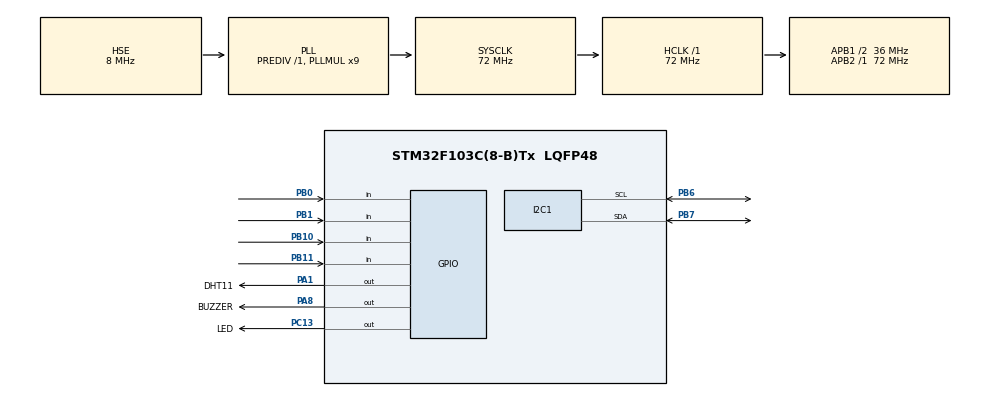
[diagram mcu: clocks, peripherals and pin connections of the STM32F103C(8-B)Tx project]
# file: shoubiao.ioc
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FREERTOS.Tasks01=defaultTask,24,128,StartDefaultTask,Default,NULL,Dynamic,NULL,NULL;MenuTask,24,256,StartTask02,Default,NULL,Dynamic,NULL,NULL
Mcu.Family=STM32F1
Mcu.Name=STM32F103C(8-B)Tx
Mcu.Package=LQFP48
NVIC.PriorityGroup=NVIC_PRIORITYGROUP_4
PA1.GPIO_Label=DHT11
PA1.Signal=GPIO_Output
PA13.Mode=Serial_Wire
PA13.Signal=SYS_JTMS-SWDIO
PA14.Mode=Serial_Wire
PA14.Signal=SYS_JTCK-SWCLK
PA8.GPIO_Label=BUZZER
PA8.Signal=GPIO_Output
PB0.GPIO_PuPd=GPIO_PULLUP
PB0.Signal=GPIO_Input
PB1.GPIO_PuPd=GPIO_PULLUP
PB1.Signal=GPIO_Input
PB10.GPIO_PuPd=GPIO_PULLUP
PB10.Signal=GPIO_Input
PB11.GPIO_PuPd=GPIO_PULLUP
PB11.Signal=GPIO_Input
PB6.Mode=I2C
PB6.Signal=I2C1_SCL
PB7.Mode=I2C
PB7.Signal=I2C1_SDA
PC13-TAMPER-RTC.GPIO_Label=LED
PC13-TAMPER-RTC.Signal=GPIO_Output
PD0-OSC_IN.Mode=HSE-External-Oscillator
PD0-OSC_IN.Signal=RCC_OSC_IN
PD1-OSC_OUT.Mode=HSE-External-Oscillator
PD1-OSC_OUT.Signal=RCC_OSC_OUT
ProjectManager.HeapSize=0x200
ProjectManager.StackSize=0x400
ProjectManager.TargetToolchain=MDK-ARM V5.32
RCC.AHBFreq_Value=72000000
RCC.APB1CLKDivider=RCC_HCLK_DIV2
RCC.APB1Freq_Value=36000000
RCC.APB1TimFreq_Value=72000000
RCC.APB2Freq_Value=72000000
RCC.APB2TimFreq_Value=72000000
RCC.HCLKFreq_Value=72000000
RCC.PLLMUL=RCC_PLL_MUL9
RCC.PLLSourceVirtual=RCC_PLLSOURCE_HSE
RCC.SYSCLKFreq_VALUE=72000000
RCC.SYSCLKSource=RCC_SYSCLKSOURCE_PLLCLK
RCC.USBFreq_Value=72000000
VP_FREERTOS_VS_CMSIS_V2.Mode=CMSIS_V2
board=custom

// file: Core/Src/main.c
/* USER CODE BEGIN Header */
/**
  ******************************************************************************
  * @file           : main.c
  * @brief          : Main program body
  ******************************************************************************
  * @attention
  *
  * Copyright (c) 2026 STMicroelectronics.
  * All rights reserved.
  *
  * This software is licensed under terms that can be found in the LICENSE file
  * in the root directory of this software component.
  * If no LICENSE file comes with this software, it is provided AS-IS.
  *
  ******************************************************************************
  */
/* USER CODE END Header */
#include "main.h"
#include "cmsis_os.h"
#include "i2c.h"
#include "gpio.h"

/* USER CODE BEGIN Includes */

#include "oled.h"

/* USER CODE END Includes */

void SystemClock_Config(void);
void MX_FREERTOS_Init(void);

int main(void)
{

  /* MCU Configuration--------------------------------------------------------*/

  /* Reset of all peripherals, Initializes the Flash interface and the Systick. */
  HAL_Init();

  /* Configure the system clock */
  SystemClock_Config();

  /* Initialize all configured peripherals */
  MX_GPIO_Init();
  MX_I2C1_Init();

  /* Init scheduler */
  osKernelInitialize();

  /* Call init function for freertos objects (in cmsis_os2.c) */
  MX_FREERTOS_Init();

  /* Start scheduler */
  osKernelStart();

  /* We should never get here as control is now taken by the scheduler */

  /* Infinite loop */
  while (1)
  {

  }
}

void SystemClock_Config(void)
{
  RCC_OscInitTypeDef RCC_OscInitStruct = {0};
  RCC_ClkInitTypeDef RCC_ClkInitStruct = {0};

  /** Initializes the RCC Oscillators according to the specified parameters
  * in the RCC_OscInitTypeDef structure.
  */
  RCC_OscInitStruct.OscillatorType = RCC_OSCILLATORTYPE_HSE;
  RCC_OscInitStruct.HSEState = RCC_HSE_ON;
  RCC_OscInitStruct.HSEPredivValue = RCC_HSE_PREDIV_DIV1;
  RCC_OscInitStruct.HSIState = RCC_HSI_ON;
  RCC_OscInitStruct.PLL.PLLState = RCC_PLL_ON;
  RCC_OscInitStruct.PLL.PLLSource = RCC_PLLSOURCE_HSE;
  RCC_OscInitStruct.PLL.PLLMUL = RCC_PLL_MUL9;
  if (HAL_RCC_OscConfig(&RCC_OscInitStruct) != HAL_OK)
  {
    Error_Handler();
  }

  /** Initializes the CPU, AHB and APB buses clocks
  */
  RCC_ClkInitStruct.ClockType = RCC_CLOCKTYPE_HCLK|RCC_CLOCKTYPE_SYSCLK
                              |RCC_CLOCKTYPE_PCLK1|RCC_CLOCKTYPE_PCLK2;
  RCC_ClkInitStruct.SYSCLKSource = RCC_SYSCLKSOURCE_PLLCLK;
  RCC_ClkInitStruct.AHBCLKDivider = RCC_SYSCLK_DIV1;
  RCC_ClkInitStruct.APB1CLKDivider = RCC_HCLK_DIV2;
  RCC_ClkInitStruct.APB2CLKDivider = RCC_HCLK_DIV1;

  if (HAL_RCC_ClockConfig(&RCC_ClkInitStruct, FLASH_LATENCY_2) != HAL_OK)
  {
    Error_Handler();
  }
}

void Error_Handler(void)
{
  __disable_irq();
  while (1)
  {
  }
}

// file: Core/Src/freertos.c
/* USER CODE BEGIN Header */
/**
  ******************************************************************************
  * File Name          : freertos.c
  * Description        : Code for freertos applications
  ******************************************************************************
  * @attention
  *
  * Copyright (c) 2026 STMicroelectronics.
  * All rights reserved.
  *
  * This software is licensed under terms that can be found in the LICENSE file
  * in the root directory of this software component.
  * If no LICENSE file comes with this software, it is provided AS-IS.
  *
  ******************************************************************************
  */
/* USER CODE END Header */

#include "FreeRTOS.h"
#include "task.h"
#include "main.h"
#include "cmsis_os.h"

/* USER CODE BEGIN Includes */
#include "oled.h"
#include "key.h"
#include "led.h"
#include "driver_dht11.h"
#include "driver_passive_buzzer.h"
// <<< 新增：包含所有需要的头文件
/* USER CODE END Includes */

/* USER CODE BEGIN PTD */
// <<< 新增：定义屏幕枚举类型
typedef enum {
    SCREEN_CLOCK,      // 时钟界面
    SCREEN_CALENDAR,   // 日历界面
    SCREEN_TEMP_HUM,   // 温湿度界面
    SCREEN_FLASHLIGHT, // 手电筒界面
    SCREEN_SETTINGS,   // 设置界面
    SCREEN_MAX
} ScreenType_t;
/* USER CODE END PTD */

/* USER CODE BEGIN Variables */
// <<< 新增：全局变量定义
ScreenType_t CurrentScreen = SCREEN_CLOCK; // 当前显示的屏幕
float gTemperature = 0, gHumidity = 0;     // 温湿度全局变量
uint8_t gLedStatus = 0;                    // LED状态
uint8_t gBuzzerStatus = 0;                 // 蜂鸣器状态
/* USER CODE END Variables */

/* Definitions for defaultTask */
osThreadId_t defaultTaskHandle;
const osThreadAttr_t defaultTask_attributes = {
  .name = "defaultTask",
  .stack_size = 128 * 4,
  .priority = (osPriority_t) osPriorityNormal,
};

/* Definitions for MenuTask */
osThreadId_t MenuTaskHandle;
const osThreadAttr_t MenuTask_attributes = {
  .name = "MenuTask",
  .stack_size = 256 * 4,
  .priority = (osPriority_t) osPriorityNormal,
};

// <<< 新增：其他任务句柄和属性定义
/* Definitions for DisplayTask */
osThreadId_t DisplayTaskHandle;
const osThreadAttr_t DisplayTask_attributes = {
  .name = "DisplayTask",
  .stack_size = 256 * 4,
  .priority = (osPriority_t) osPriorityNormal,
};

/* Definitions for ClockTask */
osThreadId_t ClockTaskHandle;
const osThreadAttr_t ClockTask_attributes = {
  .name = "ClockTask",
  .stack_size = 256 * 4,
  .priority = (osPriority_t) osPriorityNormal,
};

/* Definitions for DHT11Task */
osThreadId_t DHT11TaskHandle;
const osThreadAttr_t DHT11Task_attributes = {
  .name = "DHT11Task",
  .stack_size = 256 * 4,
  .priority = (osPriority_t) osPriorityBelowNormal,
};

/* Definitions for KeyTask */
osThreadId_t KeyTaskHandle;
const osThreadAttr_t KeyTask_attributes = {
  .name = "KeyTask",
  .stack_size = 256 * 4,
  .priority = (osPriority_t) osPriorityAboveNormal,
};

/* Definitions for SystemMonitorTask */
osThreadId_t SystemMonitorTaskHandle;
const osThreadAttr_t SystemMonitorTask_attributes = {
  .name = "SystemMonitorTask",
  .stack_size = 128 * 4,
  .priority = (osPriority_t) osPriorityLow,
};

/* USER CODE BEGIN FunctionPrototypes */
// <<< 新增：任务函数声明
void DisplayTaskFunc(void *argument);
void ClockTaskFunc(void *argument);
void SystemMonitorTaskFunc(void *argument);
/* USER CODE END FunctionPrototypes */

void StartDefaultTask(void *argument);
void StartTask02(void *argument);

void MX_FREERTOS_Init(void); /* (MISRA C 2004 rule 8.1) */

void MX_FREERTOS_Init(void) {

  /* Create the thread(s) */
  /* creation of defaultTask */
  defaultTaskHandle = osThreadNew(StartDefaultTask, NULL, &defaultTask_attributes);

  /* creation of MenuTask */
  MenuTaskHandle = osThreadNew(StartTask02, NULL, &MenuTask_attributes);

  /* USER CODE BEGIN RTOS_THREADS */
  // <<< 新增：创建所有任务
  /* creation of DisplayTask */
  DisplayTaskHandle = osThreadNew(DisplayTaskFunc, NULL, &DisplayTask_attributes);

  /* creation of ClockTask */
  ClockTaskHandle = osThreadNew(ClockTaskFunc, NULL, &ClockTask_attributes);

  /* creation of DHT11Task */
  DHT11TaskHandle = osThreadNew(DHT11_Task, NULL, &DHT11Task_attributes);

  /* creation of KeyTask */
  KeyTaskHandle = osThreadNew(KEY_Task, NULL, &KeyTask_attributes);

  /* creation of SystemMonitorTask */
  SystemMonitorTaskHandle = osThreadNew(SystemMonitorTaskFunc, NULL, &SystemMonitorTask_attributes);
  /* USER CODE END RTOS_THREADS */

}

void StartDefaultTask(void *argument)
{
  /* USER CODE BEGIN StartDefaultTask */
  /* Infinite loop */
  for(;;)
  {
    osDelay(1000);  // <<< 修改：延长延时时间
  }
  /* USER CODE END StartDefaultTask */
}

void StartTask02(void *argument)
{
  /* USER CODE BEGIN StartTask02 */
  // <<< 修改：菜单任务实现
  /* 初始化外设 */
  KEY_Init();
  LED_Init();
  BUZZER_Init();

  /* 开机提示音 */
  BUZZER_Beep(200);
  LED_SetMode(LED_MODE_BLINK_FAST);
  osDelay(500);
  LED_SetMode(LED_MODE_OFF);

  for(;;)
  {
    // 处理按键事件
    KeyEvent event = KEY_GetEvent();
    if(event.state != KEY_RELEASED)
    {
      switch(event.key_id)
      {
        case KEY_ID_RIGHT:  // 右键：下一个屏幕
          CurrentScreen = (CurrentScreen + 1) % SCREEN_MAX;
          BUZZER_Beep(50);  // 按键提示音
          break;

        case KEY_ID_LEFT:   // 左键：上一个屏幕
          if(CurrentScreen == 0)
            CurrentScreen = SCREEN_MAX - 1;
          else
            CurrentScreen--;
          BUZZER_Beep(50);  // 按键提示音
          break;

        case KEY_ID_ENTER:  // 确认键：进入/确认
          if(CurrentScreen == SCREEN_FLASHLIGHT)
          {
            gLedStatus = !gLedStatus;
            if(gLedStatus)
              LED_SetMode(LED_MODE_ON);
            else
              LED_SetMode(LED_MODE_OFF);
          }
          else if(CurrentScreen == SCREEN_SETTINGS)
          {
            gBuzzerStatus = !gBuzzerStatus;
            BUZZER_Beep(100);
          }
          break;

        case KEY_ID_EXIT:   // 退出键：返回
          // 可以添加返回上级菜单的逻辑
          break;
      }
    }

    // 更新LED和蜂鸣器状态
    LED_Update();
    BUZZER_Update();

    osDelay(20);  // 20ms周期
  }
  /* USER CODE END StartTask02 */
}

/* USER CODE BEGIN Application */
// <<< 新增：所有新任务函数的实现

/**
  * @brief  显示任务函数
  * @param  argument: Not used
  * @retval None
  */
void DisplayTaskFunc(void *argument)
{
  /* 初始化OLED */
  OLED_Init();
  OLED_Clear();

  /* 显示开机画面 */
  OLED_ShowString(30, 0, "SMART WATCH", FONT_SIZE_6x8);
  OLED_ShowString(20, 2, "Initializing...", FONT_SIZE_6x8);
  OLED_Refresh();
  osDelay(1000);

  for(;;)
  {
    OLED_Clear();

    /* 根据当前屏幕显示不同内容 */
    switch(CurrentScreen)
    {
      case SCREEN_CLOCK:      // 时钟界面
        OLED_ShowString(40, 0, "CLOCK", FONT_SIZE_6x8);
        OLED_ShowString(20, 2, "Time: 12:30:45", FONT_SIZE_6x8);
        OLED_ShowString(20, 4, "Date: 2024-01-01", FONT_SIZE_6x8);
        break;

      case SCREEN_CALENDAR:   // 日历界面
        OLED_ShowString(35, 0, "CALENDAR", FONT_SIZE_6x8);
        OLED_ShowString(20, 2, "2024年1月1日", FONT_SIZE_6x8);
        OLED_ShowString(20, 4, "星期一", FONT_SIZE_6x8);
        OLED_ShowString(20, 6, "农历冬月廿一", FONT_SIZE_6x8);
        break;

      case SCREEN_TEMP_HUM:   // 温湿度界面
        OLED_ShowString(30, 0, "ENVIRONMENT", FONT_SIZE_6x8);

        // 显示温度图标
        OLED_ShowString(10, 2, "Temp:", FONT_SIZE_6x8);
        OLED_ShowFloatNum(50, 2, gTemperature, 2, FONT_SIZE_6x8);
        OLED_ShowString(90, 2, "C", FONT_SIZE_6x8);

        // 显示湿度图标
        OLED_ShowString(10, 4, "Hum:", FONT_SIZE_6x8);
        OLED_ShowFloatNum(50, 4, gHumidity, 2, FONT_SIZE_6x8);
        OLED_ShowString(90, 4, "%", FONT_SIZE_6x8);
        break;

      case SCREEN_FLASHLIGHT: // 手电筒界面
        OLED_ShowString(30, 0, "FLASHLIGHT", FONT_SIZE_6x8);
        OLED_ShowString(15, 3, gLedStatus ? "ON" : "OFF", FONT_SIZE_8x16);
        OLED_ShowString(30, 5, "Press ENTER", FONT_SIZE_6x8);
        OLED_ShowString(30, 6, "to toggle", FONT_SIZE_6x8);
        break;

      case SCREEN_SETTINGS:   // 设置界面
        OLED_ShowString(35, 0, "SETTINGS", FONT_SIZE_6x8);
        OLED_ShowString(10, 2, "Buzzer:", FONT_SIZE_6x8);
        OLED_ShowString(60, 2, gBuzzerStatus ? "ON " : "OFF", FONT_SIZE_6x8);
        OLED_ShowString(10, 4, "Brightness:", FONT_SIZE_6x8);
        OLED_ShowString(80, 4, "80%", FONT_SIZE_6x8);
        break;

      default:
        break;
    }

    /* 显示底部导航栏 */
    OLED_DrawLine(0, 56, 127, 56, WHITE);
    OLED_ShowString(5, 7, "<", FONT_SIZE_6x8);
    OLED_ShowString(115, 7, ">", FONT_SIZE_6x8);
    OLED_ShowString(55, 7, "OK", FONT_SIZE_6x8);

    /* 刷新屏幕 */
    OLED_Refresh();

    osDelay(200);  // 200ms刷新一次，避免闪烁
  }
}

/**
  * @brief  时钟任务函数
  * @param  argument: Not used
  * @retval None
  */
void ClockTaskFunc(void *argument)
{
  uint32_t tick_count = 0;
  uint8_t hours = 12, minutes = 30, seconds = 45;

  for(;;)
  {
    tick_count++;

    // 模拟时钟更新（实际应该用RTC）
    seconds++;
    if(seconds >= 60)
    {
      seconds = 0;
      minutes++;
      if(minutes >= 60)
      {
        minutes = 0;
        hours++;
        if(hours >= 24)
        {
          hours = 0;
        }
      }
    }

    // 每秒更新一次（实际项目应该用RTC中断）
    if(tick_count % 5 == 0)  // 5*200ms = 1秒
    {
      // 这里可以更新全局时钟变量
      // 实际项目中应该从RTC读取
    }

    osDelay(200);  // 200ms周期
  }
}

/**
  * @brief  系统监控任务函数
  * @param  argument: Not used
  * @retval None
  */
void SystemMonitorTaskFunc(void *argument)
{
  uint32_t last_wake_time = osKernelGetTickCount();
  uint32_t task_count = 0;

  for(;;)
  {
    task_count++;

    // 每10秒输出一次系统状态
    if(task_count % 50 == 0)  // 50*200ms = 10秒
    {
      // 获取任务堆栈使用情况（示例）
      // 实际可以使用uxTaskGetStackHighWaterMark()获取堆栈高水位

      // 简单的系统状态指示
      if(task_count % 100 == 0)  // 20秒闪烁一次
      {
        LED_SetMode(LED_MODE_BLINK_SLOW);
        osDelay(500);
        LED_SetMode(LED_MODE_OFF);
      }
    }

    // 固定周期运行
    osDelayUntil(last_wake_time + 200);
    last_wake_time = osKernelGetTickCount();
  }
}

/* USER CODE END Application */
